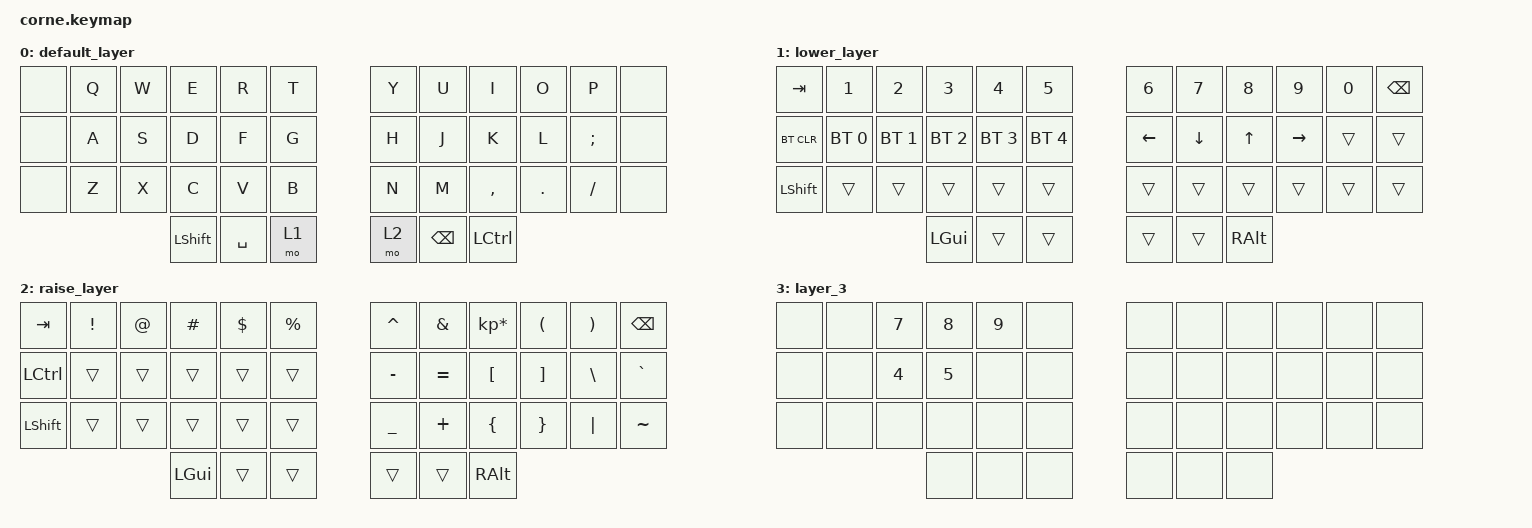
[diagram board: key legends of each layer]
/*
 * Copyright (c) 2020 The ZMK Contributors
 *
 * SPDX-License-Identifier: MIT
 */

#include <behaviors.dtsi>
#include <dt-bindings/zmk/bt.h>
#include <dt-bindings/zmk/keys.h>

&mt { tapping-term-ms = <400>; };

/ {
    combos {
        compatible = "zmk,combos";

        LeftAlt {
            bindings = <&kp LEFT_ALT>;
            key-positions = <1 2>;
        };

        Escape {
            bindings = <&kp ESC>;
            key-positions = <13 14>;
        };

        Win {
            bindings = <&kp LEFT_WIN>;
            key-positions = <25 26>;
        };

        Tab {
            bindings = <&kp TAB>;
            key-positions = <16 15>;
        };

        Delete {
            bindings = <&kp DEL>;
            key-positions = <7 8>;
        };

        Enter {
            bindings = <&kp LS(ENTER)>;
            key-positions = <19 20>;
        };

        RightAlt {
            bindings = <&kp RIGHT_ALT>;
            key-positions = <33 34>;
        };

        AnotherEnter {
            bindings = <&kp ENTER>;
            key-positions = <21 22>;
        };

        AnotherTab {
            bindings = <&kp TAB>;
            key-positions = <3 4>;
        };
    };

    keymap {
        compatible = "zmk,keymap";

        default_layer {
            // -----------------------------------------------------------------------------------------
            // |  TAB |  Q  |  W  |  E  |  R  |  T  |   |  Y  |  U   |  I  |  O  |  P  | BKSP |
            // | CTRL |  A  |  S  |  D  |  F  |  G  |   |  H  |  J   |  K  |  L  |  ;  |  '   |
            // | SHFT |  Z  |  X  |  C  |  V  |  B  |   |  N  |  M   |  ,  |  .  |  /  | ESC  |
            //                    | GUI | LWR | SPC |   | ENT | RSE  | ALT |

            bindings = <
&none  &kp Q  &kp W  &kp E           &kp R      &kp T    &kp Y  &kp U          &kp I      &kp O    &kp P     &none
&none  &kp A  &kp S  &kp D           &kp F      &kp G    &kp H  &kp J          &kp K      &kp L    &kp SEMI  &none
&none  &kp Z  &kp X  &kp C           &kp V      &kp B    &kp N  &kp M          &kp COMMA  &kp DOT  &kp FSLH  &none
                     &kp LEFT_SHIFT  &kp SPACE  &mo 1    &mo 2  &kp BACKSPACE  &kp LCTRL
            >;
        };

        lower_layer {
            // -----------------------------------------------------------------------------------------
            // |  TAB |  1  |  2  |  3  |  4  |  5  |   |  6  |  7  |  8  |  9  |  0  | BKSP |
            // | BTCLR| BT1 | BT2 | BT3 | BT4 | BT5 |   | LFT | DWN |  UP | RGT |     |      |
            // | SHFT |     |     |     |     |     |   |     |     |     |     |     |      |
            //                    | GUI |     | SPC |   | ENT |     | ALT |

            bindings = <
&kp TAB     &kp N1        &kp N2        &kp N3        &kp N4        &kp N5          &kp N6    &kp N7    &kp N8    &kp N9     &kp N0  &kp BSPC
&bt BT_CLR  &bt BT_SEL 0  &bt BT_SEL 1  &bt BT_SEL 2  &bt BT_SEL 3  &bt BT_SEL 4    &kp LEFT  &kp DOWN  &kp UP    &kp RIGHT  &trans  &trans
&kp LSHFT   &trans        &trans        &trans        &trans        &trans          &trans    &trans    &trans    &trans     &trans  &trans
                                        &kp LGUI      &trans        &trans          &trans    &trans    &kp RALT
            >;
        };

        raise_layer {
            // -----------------------------------------------------------------------------------------
            // |  TAB |  !  |  @  |  #  |  $  |  %  |   |  ^  |  &  |  *  |  (  |  )  | BKSP |
            // | CTRL |     |     |     |     |     |   |  -  |  =  |  [  |  ]  |  \  |  `   |
            // | SHFT |     |     |     |     |     |   |  _  |  +  |  {  |  }  | "|" |  ~   |
            //                    | GUI |     | SPC |   | ENT |     | ALT |

            bindings = <
&kp TAB    &kp EXCL  &kp AT  &kp HASH  &kp DLLR  &kp PRCNT    &kp CARET  &kp AMPS   &kp KP_MULTIPLY  &kp LPAR  &kp RPAR  &kp BSPC
&kp LCTRL  &trans    &trans  &trans    &trans    &trans       &kp MINUS  &kp EQUAL  &kp LBKT         &kp RBKT  &kp BSLH  &kp GRAVE
&kp LSHFT  &trans    &trans  &trans    &trans    &trans       &kp UNDER  &kp PLUS   &kp LBRC         &kp RBRC  &kp PIPE  &kp TILDE
                             &kp LGUI  &trans    &trans       &trans     &trans     &kp RALT
            >;
        };

        layer_3 {
            bindings = <
&none  &none  &kp NUMBER_7  &kp NUMBER_8  &kp NUMBER_9  &none    &none  &none  &none  &none  &none  &none
&none  &none  &kp NUMBER_4  &kp NUMBER_5  &none         &none    &none  &none  &none  &none  &none  &none
&none  &none  &none         &none         &none         &none    &none  &none  &none  &none  &none  &none
                            &none         &none         &none    &none  &none  &none
            >;
        };
    };
};
